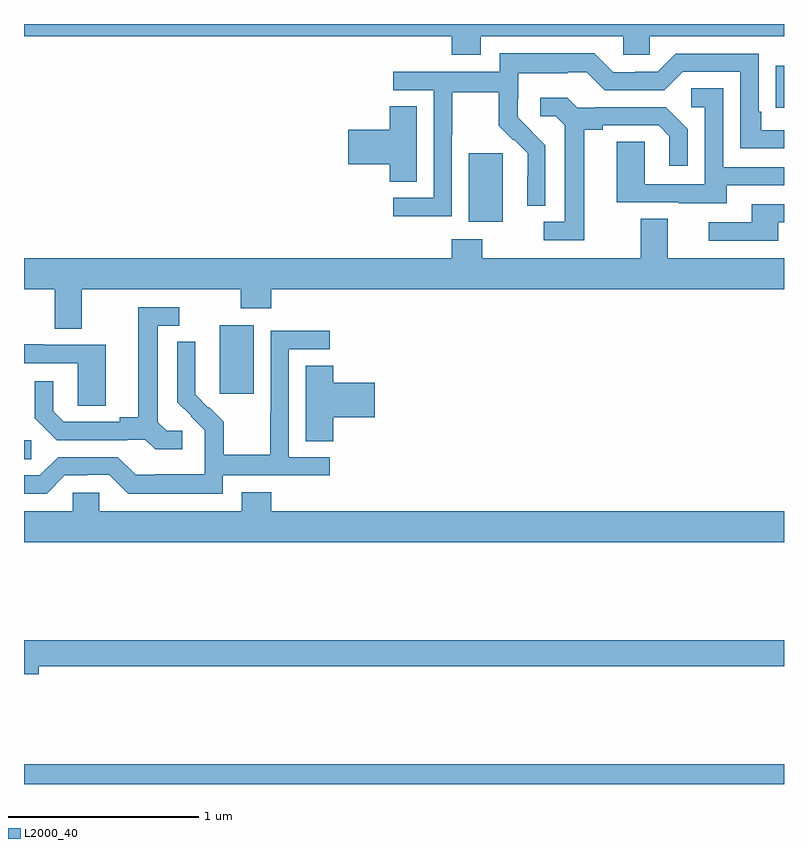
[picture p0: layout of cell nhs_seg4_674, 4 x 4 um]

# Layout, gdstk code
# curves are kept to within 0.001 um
import gdstk
lib = gdstk.Library(unit=1e-6, precision=1e-09)
def R(c, l, rs):  # rectangles x0, y0, x1, y1
    for r in rs: c.add(gdstk.rectangle(r[:2], r[2:], *l))
def P(c, l, *ps):  # polygons
    for p in ps: c.add(gdstk.Polygon(p, *l))
L2000_40 = (2000, 40)

nhs_seg4_674 = lib.new_cell('nhs_seg4_674')
R(nhs_seg4_674, L2000_40, [(145,776.9,149,777.004), (145,778.609,145.039,778.71), (146.03,778.953,146.209,779.314), (147.341,779.858,147.52,780.219), (148.957,780.46,149,780.679)])
P(nhs_seg4_674, L2000_40, [(147.403,780.836),(148.155,780.836),(148.155,780.738),(148.293,780.738),(148.293,780.836),(149,780.836),(149,780.9),(145,780.9),(145,780.836),(147.251,780.836),(147.251,780.737),(147.403,780.737)],
  [(147.252,780.316),(147.255,780.316),(147.255,780.54),(147.499,780.54),(147.499,780.365),(147.576,780.288),(147.579,780.291),(147.65,780.221),(147.65,780.098),(147.648,780.098),(147.648,779.944),(147.744,779.944),(147.744,780.262),(147.598,780.41),(147.598,780.507),(147.6,780.507),(147.6,780.641),(147.863,780.641),(147.863,780.645),(147.963,780.645),(148.056,780.552),(148.371,780.552),(148.467,780.648),(148.77,780.648),(148.77,780.246),(149,780.246),(149,780.342),(148.879,780.342),(148.879,780.439),(148.866,780.439),(148.866,780.744),(148.431,780.744),(148.335,780.648),(148.217,780.648),(148.217,780.645),(148.101,780.645),(148.001,780.745),(147.504,780.745),(147.504,780.648),(146.943,780.648),(146.943,780.552),(147.156,780.552),(147.156,779.985),(146.943,779.985),(146.943,779.887),(147.252,779.887)],
  [(148.699,780.051),(149,780.051),(149,780.147),(148.68,780.147),(148.68,780.563),(148.512,780.563),(148.512,780.462),(148.584,780.462),(148.584,780.057),(148.266,780.057),(148.266,780.281),(148.121,780.281),(148.121,779.961),(148.445,779.961),(148.445,779.957),(148.699,779.957)],
  [(147.949,780.344),(148.045,780.344),(148.045,780.366),(148.34,780.366),(148.397,780.309),(148.397,780.153),(148.494,780.153),(148.494,780.346),(148.378,780.462),(148.006,780.462),(148.006,780.459),(147.912,780.459),(147.86,780.511),(147.717,780.511),(147.717,780.414),(147.798,780.414),(147.845,780.367),(147.845,779.859),(147.735,779.859),(147.735,779.763),(147.949,779.763)],
  [(147.067,780.467),(146.924,780.467),(146.924,780.344),(146.706,780.344),(146.706,780.161),(146.924,780.161),(146.924,780.07),(147.067,780.07)],
  [(148.969,779.856),(149,779.856),(149,779.952),(148.829,779.952),(148.829,779.856),(148.605,779.856),(148.605,779.76),(148.969,779.76)],
  [(149,779.668),(148.387,779.668),(148.387,779.876),(148.247,779.876),(148.247,779.668),(147.411,779.668),(147.411,779.767),(147.251,779.767),(147.251,779.668),(145,779.668),(145,779.504),(145.163,779.504),(145.163,779.296),(145.303,779.296),(145.303,779.504),(146.14,779.504),(146.14,779.405),(146.3,779.405),(146.3,779.504),(149,779.504)],
  [(145.834,778.758),(145.752,778.758),(145.705,778.805),(145.705,779.313),(145.816,779.313),(145.816,779.409),(145.601,779.409),(145.601,778.829),(145.505,778.829),(145.505,778.806),(145.21,778.806),(145.153,778.863),(145.153,779.02),(145.056,779.02),(145.056,778.826),(145.172,778.71),(145.544,778.71),(145.544,778.713),(145.638,778.713),(145.69,778.661),(145.834,778.661)],
  [(146.046,778.524),(146.608,778.524),(146.608,778.62),(146.394,778.62),(146.394,779.187),(146.608,779.187),(146.608,779.286),(146.298,779.286),(146.298,778.856),(146.296,778.856),(146.296,778.633),(146.051,778.633),(146.051,778.807),(145.974,778.884),(145.971,778.881),(145.901,778.952),(145.902,779.228),(145.806,779.228),(145.806,778.91),(145.952,778.762),(145.952,778.665),(145.95,778.665),(145.95,778.531),(145.687,778.531),(145.687,778.527),(145.587,778.527),(145.494,778.62),(145.179,778.62),(145.083,778.524),(145,778.524),(145,778.428),(145.119,778.428),(145.215,778.524),(145.334,778.524),(145.334,778.527),(145.449,778.527),(145.549,778.427),(146.046,778.427)],
  [(145.429,779.211),(145.105,779.211),(145.105,779.215),(145,779.215),(145,779.115),(145.284,779.115),(145.284,778.891),(145.429,778.891)],
  [(146.627,778.829),(146.845,778.829),(146.845,779.012),(146.627,779.012),(146.627,779.102),(146.483,779.102),(146.483,778.705),(146.627,778.705)],
  [(149,778.336),(146.3,778.336),(146.3,778.435),(146.147,778.435),(146.147,778.336),(145.395,778.336),(145.395,778.434),(145.257,778.434),(145.257,778.336),(145,778.336),(145,778.172),(149,778.172)],
  [(145.078,777.52),(149,777.52),(149,777.656),(145,777.656),(145,777.478),(145.078,777.478)])

lib.write_gds('nhs_seg4_674.gds')
